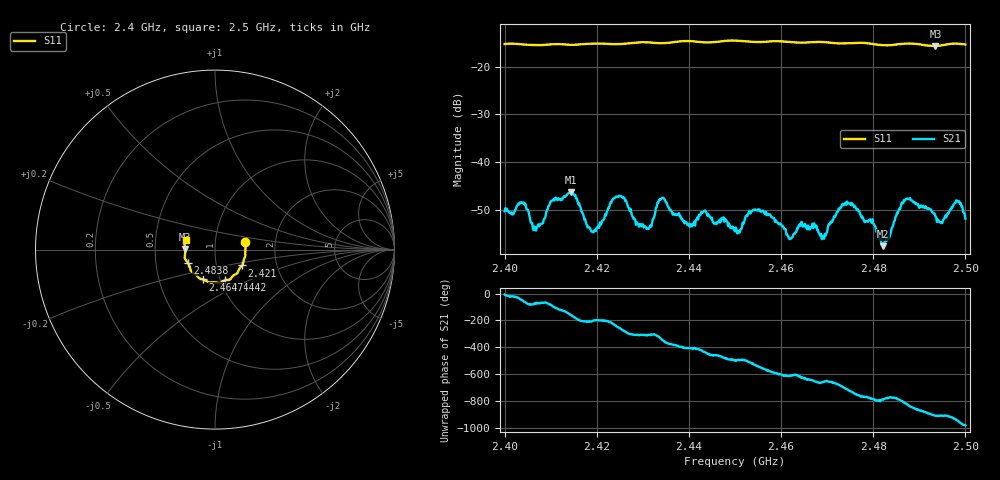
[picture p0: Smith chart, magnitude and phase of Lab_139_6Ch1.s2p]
# Hz S RI R 50
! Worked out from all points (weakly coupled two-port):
!   601 points, 2.4 GHz to 2.5 GHz, reference 50 ohm
!   highest |S21| = -46.30 dB at 2.4143 GHz (marker M1); lowest = -57.7 dB at 2.4822 GHz (marker M2)
!   lowest |S11| = -15.6 dB at 2.4935 GHz (marker M3), VSWR 1.40, Z = 35.8 + j0.2 ohm
!   |S11| at or under -10 dB: start of sweep to end of sweep
!   S12 and S22 are empty: the file has one direction only
!   S11 on the Smith chart (normalised r, x): 2.4 GHz: 1.40, +0.12; 2.421 GHz: 1.33, -0.24; 2.4442 GHz: 1.05, -0.37; 2.4647 GHz: 0.83, -0.29; 2.4838 GHz: 0.73, -0.11; 2.5 GHz: 0.72, +0.08
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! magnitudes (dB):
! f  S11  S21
! 2.4 GHz  -15.2  -50.4
! 2.404 GHz  -15.3  -48.7
! 2.4067 GHz  -15.4  -54.1
! 2.4143 GHz  -15.4  -46.3
! 2.4167 GHz  -15.3  -50.3
! 2.421 GHz  -15.1  -52.9
! 2.4252 GHz  -15.2  -47.1
! 2.4313 GHz  -14.9  -54.1
! 2.4333 GHz  -15.0  -48.6
! 2.4442 GHz  -14.9  -50.9
! 2.45 GHz  -14.5  -54.6
! 2.4545 GHz  -14.8  -50.1
! 2.4647 GHz  -14.9  -53.5
! 2.4667 GHz  -14.8  -53.7
! 2.4693 GHz  -14.8  -56.1
! 2.4748 GHz  -15.1  -48.7
! 2.4822 GHz  -15.5  -57.7
! 2.4833 GHz  -15.5  -55.6
! 2.4838 GHz  -15.5  -54.8
! 2.4872 GHz  -15.1  -47.7
! 2.4935 GHz  -15.6  -51.4
! 2.5 GHz  -15.3  -51.9
